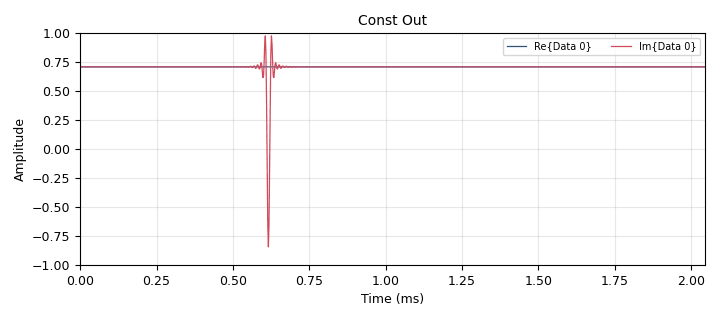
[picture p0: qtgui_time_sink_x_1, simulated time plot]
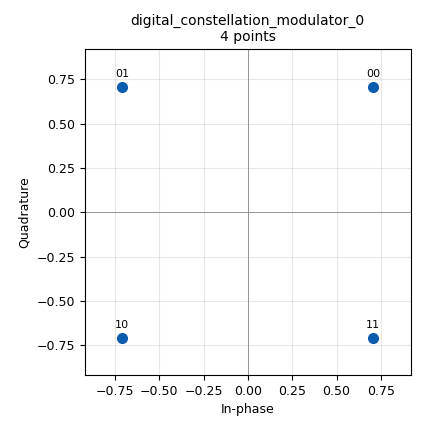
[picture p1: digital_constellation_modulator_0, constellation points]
options:
  parameters:
    category: Custom
    generate_options: qt_gui
    id: mpsk_stage6
    output_language: python
  states: {}

blocks:
- name: eq_gain
  id: variable_qtgui_range
  parameters:
    gui_hint: 'controls@1: 0,1,1,1'
    label: 'Equalizer: rate'
    start: '0.0'
    step: '0.001'
    stop: '0.1'
    value: '0.01'
    widget: slider
  states: {}
- name: excess_bw
  id: variable
  parameters:
    value: '0.35'
  states: {}
- name: phase_bw
  id: variable_qtgui_range
  parameters:
    gui_hint: 'controls@1: 0,2,1,1'
    label: 'Phase: Bandwidth'
    start: '0.0'
    step: '0.01'
    stop: '1.0'
    value: 6.28/100.0
    widget: slider
  states: {}
- name: qpsk
  id: variable_constellation_rect
  parameters:
    const_points: '[0.707+0.707j, -0.707+0.707j, -0.707-0.707j, 0.707-0.707j]'
    imag_sect: '2'
    real_sect: '2'
    rot_sym: '4'
    sym_map: '[0, 1, 2, 3]'
    w_imag_sect: '1'
    w_real_sect: '1'
  states: {}
- name: rf_freq
  id: variable
  parameters:
    value: 2500.5e6
  states: {}
- name: samp_rate
  id: variable
  parameters:
    value: '500000'
  states: {}
- name: sps
  id: variable
  parameters:
    value: '4'
  states: {}
- name: timing_loop_bw
  id: variable_qtgui_range
  parameters:
    gui_hint: 'controls@1: 0,0,1,1'
    label: 'Time: BW'
    start: '0.0'
    step: '0.01'
    stop: '0.2'
    value: 6.28/100.0
    widget: slider
  states: {}
- name: bladeRF_sink_0
  id: bladeRF_sink
  parameters:
    bias_tee0: 'False'
    bias_tee1: 'False'
    bw: samp_rate*sps
    dac: '10000'
    dc_calibration: LPF_TUNING
    device_id: '0'
    fpga_image: ''
    fpga_reload: 'False'
    freq: rf_freq
    gain0: '60'
    gain1: '10'
    if_gain0: '20'
    if_gain1: '20'
    in_clk: ONBOARD
    lpf_mode: disabled
    metadata: 'False'
    nchan: '1'
    out_clk: 'False'
    ref_clk: 10e6
    sample_rate: samp_rate*sps
    sampling: internal
    show_pmic: 'False'
    smb: '0'
    tamer: internal
    trigger0: 'False'
    trigger1: 'False'
    trigger_role0: master
    trigger_role1: master
    trigger_signal0: J51_1
    trigger_signal1: J51_1
    use_dac: 'False'
    use_ref_clk: 'False'
    verbosity: verbose
    xb200: none
  states: {}
- name: blocks_vector_source_x_0
  id: blocks_vector_source_x
  parameters:
    repeat: 'True'
    type: byte
    vector: 49*[0,]+[3]+50*[0,]
  states: {}
- name: controls
  id: qtgui_tab_widget
  parameters:
    gui_hint: 0,0,1,2
    label0: Channel
    label1: Receiver
    num_tabs: '2'
  states: {}
- name: digital_constellation_encoder_bc_0
  id: digital_constellation_encoder_bc
  parameters:
    constellation: qpsk
  states: {state: disabled}
- name: digital_constellation_modulator_0
  id: digital_constellation_modulator
  parameters:
    constellation: qpsk
    differential: 'False'
    excess_bw: excess_bw
    samples_per_symbol: sps
  states: {}
- name: qtgui_time_sink_x_1
  id: qtgui_time_sink_x
  parameters:
    name: '"Const Out"'
    size: '1024'
    srate: samp_rate
    type: complex
  states: {}
- name: received
  id: qtgui_tab_widget
  parameters:
    gui_hint: 2,0,1,1
    label0: Constellation
    label1: Symbols
    num_tabs: '2'
  states: {}

connections:
- [blocks_vector_source_x_0, '0', digital_constellation_encoder_bc_0, '0']
- [blocks_vector_source_x_0, '0', digital_constellation_modulator_0, '0']
- [digital_constellation_encoder_bc_0, '0', bladeRF_sink_0, '0']
- [digital_constellation_encoder_bc_0, '0', qtgui_time_sink_x_1, '0']
- [digital_constellation_modulator_0, '0', bladeRF_sink_0, '0']
- [digital_constellation_modulator_0, '0', qtgui_time_sink_x_1, '0']

metadata:
  file_format: 1
  grc_version: 3.10.5.1
